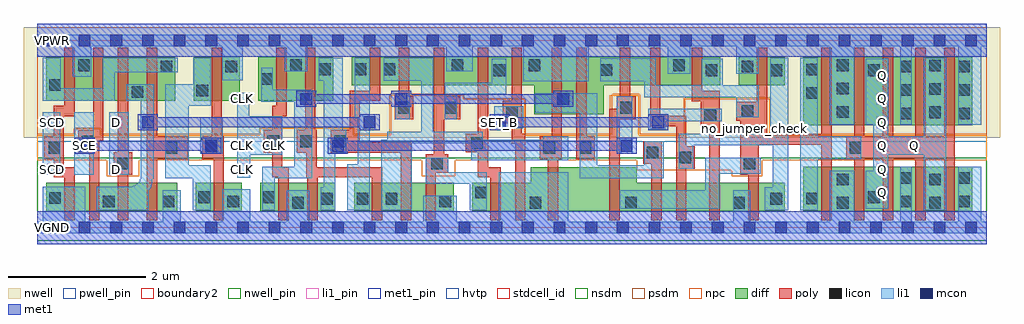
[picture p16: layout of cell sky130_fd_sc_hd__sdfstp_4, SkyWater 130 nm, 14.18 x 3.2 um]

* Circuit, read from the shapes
.subckt sky130_fd_sc_hd__sdfstp_4 CLK D Q SCD SCE SET_B VGND VNB VPB VPWR
XM1 n1 SCD VGND VNB sky130_fd_pr__nfet_01v8 w=0.42 l=0.15
XM2 n2 SCE n1 VNB sky130_fd_pr__nfet_01v8 w=0.42 l=0.15
XM3 n3 D n2 VNB sky130_fd_pr__nfet_01v8 w=0.42 l=0.15
XM4 VGND n4 n3 VNB sky130_fd_pr__nfet_01v8 w=0.42 l=0.15
XM5 VGND SCE n4 VNB sky130_fd_pr__nfet_01v8 w=0.42 l=0.15
XM6 VGND CLK n5 VNB sky130_fd_pr__nfet_01v8 w=0.42 l=0.15
XM7 n6 n5 VGND VNB sky130_fd_pr__nfet_01v8 w=0.42 l=0.15
XM8 n7 n5 n2 VNB sky130_fd_pr__nfet_01v8 w=0.42 l=0.15
XM9 n8 n6 n7 VNB sky130_fd_pr__nfet_01v8 w=0.42 l=0.15
XM10 VGND n9 n8 VNB sky130_fd_pr__nfet_01v8 w=0.42 l=0.15
XM11 n10 n7 n9 VNB sky130_fd_pr__nfet_01v8 w=0.42 l=0.15
XM12 VGND SET_B n10 VNB sky130_fd_pr__nfet_01v8 w=0.42 l=0.15
XM13 n11 n7 VGND VNB sky130_fd_pr__nfet_01v8 w=0.64 l=0.15
XM14 n12 n6 n11 VNB sky130_fd_pr__nfet_01v8 w=0.64 l=0.15
XM15 n13 n5 n12 VNB sky130_fd_pr__nfet_01v8 w=0.42 l=0.15
XM16 n14 n15 n13 VNB sky130_fd_pr__nfet_01v8 w=0.42 l=0.15
XM17 VGND SET_B n14 VNB sky130_fd_pr__nfet_01v8 w=0.42 l=0.15
XM18 n15 n12 VGND VNB sky130_fd_pr__nfet_01v8 w=0.42 l=0.15
XM19 VGND n12 n16 VNB sky130_fd_pr__nfet_01v8 w=0.65 l=0.15
XM20 Q n16 VGND VNB sky130_fd_pr__nfet_01v8 w=0.65 l=0.15 m=4
XM21 VPWR SCD n17 VPB sky130_fd_pr__pfet_01v8_hvt w=0.64 l=0.15
XM22 n18 SCE VPWR VPB sky130_fd_pr__pfet_01v8_hvt w=0.64 l=0.15
XM23 n2 D n18 VPB sky130_fd_pr__pfet_01v8_hvt w=0.64 l=0.15
XM24 n17 n4 n2 VPB sky130_fd_pr__pfet_01v8_hvt w=0.64 l=0.15
XM25 VPWR SCE n4 VPB sky130_fd_pr__pfet_01v8_hvt w=0.64 l=0.15
XM26 VPWR CLK n5 VPB sky130_fd_pr__pfet_01v8_hvt w=0.64 l=0.15
XM27 n6 n5 VPWR VPB sky130_fd_pr__pfet_01v8_hvt w=0.64 l=0.15
XM28 n7 n6 n2 VPB sky130_fd_pr__pfet_01v8_hvt w=0.42 l=0.15
XM29 n19 n5 n7 VPB sky130_fd_pr__pfet_01v8_hvt w=0.42 l=0.15
XM30 VPWR n9 n19 VPB sky130_fd_pr__pfet_01v8_hvt w=0.42 l=0.15
XM31 n9 n7 VPWR VPB sky130_fd_pr__pfet_01v8_hvt w=0.42 l=0.15
XM32 VPWR SET_B n9 VPB sky130_fd_pr__pfet_01v8_hvt w=0.42 l=0.15
XM33 n20 n7 VPWR VPB sky130_fd_pr__pfet_01v8_hvt w=0.84 l=0.15
XM34 n12 n5 n20 VPB sky130_fd_pr__pfet_01v8_hvt w=0.84 l=0.15
XM35 n21 n6 n12 VPB sky130_fd_pr__pfet_01v8_hvt w=0.42 l=0.15
XM36 VPWR n15 n21 VPB sky130_fd_pr__pfet_01v8_hvt w=0.42 l=0.15
XM37 n12 SET_B VPWR VPB sky130_fd_pr__pfet_01v8_hvt w=0.42 l=0.15
XM38 n15 n12 VPWR VPB sky130_fd_pr__pfet_01v8_hvt w=0.42 l=0.15
XM39 VPWR n12 n16 VPB sky130_fd_pr__pfet_01v8_hvt w=1 l=0.15
XM40 Q n16 VPWR VPB sky130_fd_pr__pfet_01v8_hvt w=1 l=0.15 m=4
.ends

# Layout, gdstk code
import gdstk
lib = gdstk.Library(unit=1e-6, precision=1e-09)
def R(c, l, rs):  # rectangles x0, y0, x1, y1
    for r in rs: c.add(gdstk.rectangle(r[:2], r[2:], *l))
def A(c, l, x, y, w, h, nx, ny, dx, dy):  # array of equal rectangles
    R(c, l, [(x+i*dx, y+j*dy, x+i*dx+w, y+j*dy+h) for i in range(nx) for j in range(ny)])
def P(c, l, *ps):  # polygons
    for p in ps: c.add(gdstk.Polygon(p, *l))
nwell_pin = (64, 16)
nwell = (64, 20)
diff = (65, 20)
poly = (66, 20)
licon = (66, 44)
li1_pin = (67, 16)
li1 = (67, 20)
mcon = (67, 44)
met1_pin = (68, 16)
met1 = (68, 20)
hvtp = (78, 44)
stdcell_id = (81, 4)
nsdm = (93, 44)
psdm = (94, 20)
npc = (95, 20)
pwell_pin = (122, 16)
boundary2 = (236, 0)

sky130_fd_sc_hd__sdfstp_ = lib.new_cell('sky130_fd_sc_hd__sdfstp_4')
R(sky130_fd_sc_hd__sdfstp_, nwell_pin, [(0.145,2.635,0.315,2.805)])
R(sky130_fd_sc_hd__sdfstp_, nwell, [(-0.19,1.305,13.99,2.91)])
R(sky130_fd_sc_hd__sdfstp_, diff, [(0.135,0.235,2.035,0.655), (2.305,0.235,2.975,0.655), (3.245,0.235,4.335,0.655), (4.605,0.235,6.055,0.655), (11.135,0.235,13.59,0.885), (11.135,1.485,13.59,2.485), (0.135,1.845,2.005,2.485), (2.275,1.845,2.945,2.485), (3.215,1.845,4.305,2.485), (10.195,2.065,10.865,2.485)])
P(sky130_fd_sc_hd__sdfstp_, diff, [(10.865,0.655),(8.715,0.655),(8.715,0.875),(7.17,0.875),(7.17,0.655),(6.325,0.655),(6.325,0.235),(10.865,0.235)],
  [(9.925,2.485),(4.575,2.485),(4.575,2.065),(7.225,2.065),(7.225,1.645),(8.235,1.645),(8.235,2.065),(9.925,2.065)])
P(sky130_fd_sc_hd__sdfstp_, poly, [(0.545,0.88),(0.39,0.88),(0.39,1.62),(0.545,1.62),(0.545,2.615),(0.395,2.615),(0.395,1.77),(0.24,1.77),(0.24,1.325),(0.105,1.325),(0.105,0.995),(0.24,0.995),(0.24,0.73),(0.395,0.73),(0.395,0.105),(0.545,0.105)],
  [(0.965,2.615),(0.815,2.615),(0.815,1.415),(0.6,1.415),(0.6,1.085),(0.755,1.085),(0.755,0.105),(0.905,0.105),(0.905,1.265),(0.965,1.265)],
  [(1.385,1.095),(1.325,1.095),(1.325,2.615),(1.175,2.615),(1.175,1.095),(1.115,1.095),(1.115,0.765),(1.175,0.765),(1.175,0.105),(1.325,0.105),(1.325,0.765),(1.385,0.765)],
  [(2.19,1.325),(1.745,1.325),(1.745,2.615),(1.595,2.615),(1.595,0.105),(1.745,0.105),(1.745,0.995),(2.19,0.995)],
  [(2.715,1.325),(2.685,1.325),(2.685,2.615),(2.535,2.615),(2.535,1.325),(2.4,1.325),(2.4,0.995),(2.565,0.995),(2.565,0.105),(2.715,0.105)],
  [(3.655,0.88),(3.565,0.88),(3.565,1.62),(3.625,1.62),(3.625,2.615),(3.475,2.615),(3.475,1.77),(3.415,1.77),(3.415,1.42),(3.295,1.42),(3.295,1.09),(3.415,1.09),(3.415,0.73),(3.505,0.73),(3.505,0.105),(3.655,0.105)],
  [(5.015,0.88),(4.06,0.88),(4.06,1.42),(4.045,1.42),(4.045,2.615),(3.895,2.615),(3.895,1.42),(3.775,1.42),(3.775,1.09),(3.91,1.09),(3.91,0.73),(3.925,0.73),(3.925,0.105),(4.075,0.105),(4.075,0.73),(4.865,0.73),(4.865,0.105),(5.015,0.105)],
  [(5.435,1.24),(4.69,1.24),(4.69,1.84),(4.985,1.84),(4.985,2.615),(4.835,2.615),(4.835,1.99),(4.54,1.99),(4.54,1.42),(4.27,1.42),(4.27,1.09),(5.285,1.09),(5.285,0.105),(5.435,0.105)],
  [(13.33,2.615),(13.18,2.615),(13.18,1.325),(12.91,1.325),(12.91,2.615),(12.76,2.615),(12.76,1.325),(12.44,1.325),(12.44,2.615),(12.29,2.615),(12.29,1.325),(12.02,1.325),(12.02,2.615),(11.87,2.615),(11.87,1.325),(11.755,1.325),(11.755,0.995),(11.87,0.995),(11.87,0.105),(12.02,0.105),(12.02,0.995),(12.29,0.995),(12.29,0.105),(12.44,0.105),(12.44,0.995),(12.76,0.995),(12.76,0.105),(12.91,0.105),(12.91,0.995),(13.18,0.995),(13.18,0.105),(13.33,0.105)],
  [(5.465,1.905),(5.405,1.905),(5.405,2.615),(5.255,2.615),(5.255,1.905),(5.195,1.905),(5.195,1.575),(5.465,1.575)],
  [(6.145,1.905),(5.915,1.905),(5.915,2.615),(5.765,2.615),(5.765,1.065),(5.645,1.065),(5.645,0.105),(5.795,0.105),(5.795,0.795),(5.975,0.795),(5.975,1.065),(5.915,1.065),(5.915,1.575),(6.145,1.575)],
  [(6.735,0.88),(6.555,0.88),(6.555,2.615),(6.405,2.615),(6.405,1.365),(6.225,1.365),(6.225,1.095),(6.405,1.095),(6.405,0.73),(6.585,0.73),(6.585,0.105),(6.735,0.105)],
  [(7.095,1.365),(7.045,1.365),(7.045,2.615),(6.895,2.615),(6.895,1.845),(6.765,1.845),(6.765,1.515),(6.895,1.515),(6.895,1.215),(6.945,1.215),(6.945,0.105),(7.095,0.105)],
  [(7.625,2.615),(7.475,2.615),(7.475,1.325),(7.305,1.325),(7.305,0.995),(7.42,0.995),(7.42,0.105),(7.57,0.105),(7.57,0.995),(7.625,0.995)],
  [(8.105,1.325),(7.985,1.325),(7.985,2.615),(7.835,2.615),(7.835,0.995),(8.105,0.995)],
  [(8.695,1.905),(8.615,1.905),(8.615,2.615),(8.465,2.615),(8.465,1.905),(8.425,1.905),(8.425,1.725),(8.315,1.725),(8.315,0.105),(8.465,0.105),(8.465,1.575),(8.695,1.575)],
  [(9.075,1.255),(8.805,1.255),(8.805,0.925),(8.925,0.925),(8.925,0.105),(9.075,0.105)],
  [(9.555,1.185),(9.435,1.185),(9.435,1.625),(9.055,1.625),(9.055,2.615),(8.905,2.615),(8.905,1.475),(9.285,1.475),(9.285,0.105),(9.435,0.105),(9.435,0.855),(9.555,0.855)],
  [(9.915,1.985),(9.665,1.985),(9.665,2.615),(9.515,2.615),(9.515,1.835),(9.645,1.835),(9.645,1.465),(9.765,1.465),(9.765,0.105),(9.915,0.105)],
  [(11.545,2.615),(11.395,2.615),(11.395,1.355),(10.605,1.355),(10.605,2.615),(10.455,2.615),(10.455,1.825),(10.155,1.825),(10.155,1.555),(10.215,1.555),(10.215,0.765),(10.335,0.765),(10.335,0.105),(10.485,0.105),(10.485,1.205),(11.395,1.205),(11.395,0.105),(11.545,0.105)])
A(sky130_fd_sc_hd__sdfstp_, licon, 12.54, 1.575, 0.17, 0.17, 1, 3, 0, 0.34)
A(sky130_fd_sc_hd__sdfstp_, licon, 13.38, 1.575, 0.17, 0.17, 1, 3, 0, 0.34)
A(sky130_fd_sc_hd__sdfstp_, licon, 12.96, 1.59, 0.17, 0.17, 1, 3, 0, 0.34)
A(sky130_fd_sc_hd__sdfstp_, licon, 11.62, 1.595, 0.17, 0.17, 1, 3, 0, 0.34)
R(sky130_fd_sc_hd__sdfstp_, licon, [(3.705,0.275,3.875,0.445), (7.155,0.275,7.325,0.445), (8.545,0.275,8.715,0.445), (10.115,0.275,10.285,0.445), (11.62,0.275,11.79,0.445), (12.96,0.275,13.13,0.445), (0.955,0.295,1.125,0.465), (1.825,0.295,1.995,0.465), (2.765,0.295,2.935,0.465), (5.845,0.295,6.015,0.465), (12.54,0.295,12.71,0.465), (13.38,0.295,13.55,0.465), (4.125,0.335,4.295,0.505), (4.645,0.335,4.815,0.505), (5.065,0.335,5.235,0.505), (10.655,0.335,10.825,0.505), (11.175,0.34,11.345,0.51), (0.175,0.345,0.345,0.515), (2.345,0.355,2.515,0.525), (3.285,0.355,3.455,0.525), (12.07,0.355,12.24,0.525), (6.365,0.425,6.535,0.595), (11.62,0.615,11.79,0.785), (12.96,0.615,13.13,0.785), (12.54,0.635,12.71,0.805), (13.38,0.635,13.55,0.805), (1.165,0.845,1.335,1.015), (5.725,0.845,5.895,1.015), (10.265,0.845,10.435,1.015), (9.335,0.935,9.505,1.105), (8.855,1.005,9.025,1.175), (0.17,1.075,0.34,1.245), (1.865,1.075,2.035,1.245), (2.45,1.075,2.62,1.245), (7.355,1.075,7.525,1.245), (7.885,1.075,8.055,1.245), (11.805,1.075,11.975,1.245), (6.305,1.145,6.475,1.315), (0.65,1.165,0.82,1.335), (3.345,1.17,3.515,1.34), (3.825,1.17,3.995,1.34), (4.32,1.17,4.49,1.34), (9.695,1.545,9.865,1.715), (6.815,1.595,6.985,1.765), (10.235,1.605,10.405,1.775), (5.245,1.655,5.415,1.825), (5.925,1.655,6.095,1.825), (8.475,1.655,8.645,1.825), (11.175,1.87,11.345,2.04), (1.375,1.885,1.545,2.055), (2.315,1.905,2.485,2.075), (0.175,1.985,0.345,2.155), (3.255,2.075,3.425,2.245), (6.63,2.2,6.8,2.37), (9.715,2.2,9.885,2.37), (10.655,2.2,10.825,2.37), (12.07,2.2,12.24,2.37), (8.185,2.205,8.355,2.375), (11.175,2.21,11.345,2.38), (4.095,2.215,4.265,2.385), (4.615,2.215,4.785,2.385), (5.035,2.215,5.205,2.385), (1.795,2.255,1.965,2.425), (2.735,2.255,2.905,2.425), (10.235,2.255,10.405,2.425), (0.595,2.275,0.765,2.445), (3.675,2.275,3.845,2.445), (6.025,2.275,6.195,2.445), (7.14,2.275,7.31,2.445), (9.24,2.275,9.41,2.445)])
A(sky130_fd_sc_hd__sdfstp_, li1_pin, 12.2, 0.425, 0.17, 0.17, 1, 6, 0, 0.34)
R(sky130_fd_sc_hd__sdfstp_, li1_pin, [(0.145,0.765,0.315,0.935), (1.065,0.765,1.235,0.935), (2.905,0.765,3.075,0.935), (0.605,1.105,0.775,1.275), (2.905,1.105,3.075,1.275), (3.365,1.105,3.535,1.275), (12.66,1.105,12.83,1.275), (0.145,1.445,0.315,1.615), (1.065,1.445,1.235,1.615), (6.64,1.445,6.81,1.615), (2.905,1.785,3.075,1.955)])
R(sky130_fd_sc_hd__sdfstp_, li1, [(0.085,0.765,0.34,1.675), (0.54,0.765,0.82,1.675), (1.05,0.765,1.335,1.675), (2.37,1.075,2.7,1.6), (8.425,1.075,8.65,1.905), (6.64,1.445,7.065,1.765), (5.205,1.575,5.415,1.955)])
P(sky130_fd_sc_hd__sdfstp_, li1, [(1.695,2.085),(1.295,2.085),(1.295,1.845),(1.505,1.845),(1.505,0.705),(1.495,0.705),(1.495,0.665),(1.475,0.665),(1.475,0.645),(1.46,0.645),(1.46,0.635),(1.445,0.635),(1.445,0.63),(1.44,0.63),(1.44,0.62),(1.43,0.62),(1.43,0.615),(1.42,0.615),(1.42,0.61),(1.405,0.61),(1.405,0.605),(1.395,0.605),(1.395,0.6),(1.38,0.6),(1.38,0.595),(0.87,0.595),(0.87,0.255),(1.625,0.255),(1.625,0.555),(1.64,0.555),(1.64,0.575),(1.65,0.575),(1.65,0.595),(1.66,0.595),(1.66,0.62),(1.665,0.62),(1.665,0.645),(1.67,0.645),(1.67,0.66),(1.675,0.66),(1.675,0.71),(1.695,0.71)],
  [(2.045,2.465),(0.955,2.465),(0.955,2.025),(0.345,2.025),(0.345,2.465),(0.085,2.465),(0.085,1.845),(1.125,1.845),(1.125,2.255),(2.045,2.255)],
  [(2.52,0.905),(2.2,0.905),(2.2,1.77),(2.52,1.77),(2.52,2.465),(2.27,2.465),(2.27,2.085),(1.865,2.085),(1.865,0.715),(2.26,0.715),(2.26,0.255),(2.52,0.255)],
  [(3.565,1.615),(3.085,1.615),(3.085,1.96),(2.905,1.96),(2.905,0.725),(3.1,0.725),(3.1,1.055),(3.565,1.055)],
  [(3.995,1.99),(3.985,1.99),(3.985,2),(3.425,2),(3.425,2.325),(3.255,2.325),(3.255,1.83),(3.735,1.83),(3.735,0.885),(3.27,0.885),(3.27,0.255),(3.455,0.255),(3.455,0.715),(3.995,0.715)],
  [(4.49,1.42),(4.44,1.42),(4.44,2.465),(4.095,2.465),(4.095,2.135),(4.165,2.135),(4.165,0.585),(4.125,0.585),(4.125,0.255),(4.335,0.255),(4.335,1.09),(4.49,1.09)],
  [(4.915,1.615),(4.83,1.615),(4.83,2.465),(4.615,2.465),(4.615,1.59),(4.66,1.59),(4.66,0.92),(4.505,0.92),(4.505,0.255),(4.83,0.255),(4.83,1.445),(4.915,1.445)],
  [(6.535,0.805),(5.975,0.805),(5.975,1.015),(5.645,1.015),(5.645,0.635),(6.285,0.635),(6.285,0.255),(6.535,0.255)],
  [(6.82,2.45),(6.605,2.45),(6.605,2.105),(5.925,2.105),(5.925,1.575),(6.095,1.575),(6.095,1.935),(6.82,1.935)],
  [(13.8,2.805),(0,2.805),(0,2.635),(0.515,2.635),(0.515,2.195),(0.785,2.195),(0.785,2.635),(2.69,2.635),(2.69,2.14),(2.985,2.14),(2.985,2.635),(3.595,2.635),(3.595,2.275),(3.925,2.275),(3.925,2.635),(5.945,2.635),(5.945,2.275),(6.33,2.275),(6.33,2.635),(7.06,2.635),(7.06,2.125),(8.015,2.125),(8.015,2.635),(9.16,2.635),(9.16,2.235),(9.49,2.235),(9.49,2.635),(10.155,2.635),(10.155,2.235),(10.485,2.235),(10.485,2.635),(11.515,2.635),(11.515,1.495),(11.87,1.495),(11.87,2.635),(12.54,2.635),(12.54,1.495),(12.71,1.495),(12.71,2.635),(13.38,2.635),(13.38,1.495),(13.715,1.495),(13.715,2.635),(13.8,2.635)],
  [(13.8,0.085),(13.715,0.085),(13.715,0.885),(13.38,0.885),(13.38,0.085),(12.71,0.085),(12.71,0.885),(12.54,0.885),(12.54,0.085),(11.87,0.085),(11.87,0.825),(11.515,0.825),(11.515,0.085),(10.365,0.085),(10.365,0.545),(10.115,0.545),(10.115,0.085),(7.715,0.085),(7.715,0.805),(6.705,0.805),(6.705,0.085),(6.095,0.085),(6.095,0.465),(5.61,0.465),(5.61,0.085),(3.955,0.085),(3.955,0.545),(3.625,0.545),(3.625,0.085),(3.1,0.085),(3.1,0.555),(2.69,0.555),(2.69,0.085),(2.09,0.085),(2.09,0.545),(1.825,0.545),(1.825,0.085),(0.7,0.085),(0.7,0.595),(0.085,0.595),(0.085,0.085),(0,0.085),(0,-0.085),(13.8,-0.085)],
  [(7.715,1.325),(7.355,1.325),(7.355,1.275),(6.475,1.275),(6.475,1.395),(5.755,1.395),(5.755,2.465),(5.035,2.465),(5.035,2.135),(5.585,2.135),(5.585,1.395),(5.085,1.395),(5.085,1.275),(5,1.275),(5,0.255),(5.44,0.255),(5.44,1.225),(6.305,1.225),(6.305,0.975),(7.715,0.975)],
  [(9.105,1.255),(8.82,1.255),(8.82,0.905),(8.135,0.905),(8.135,1.955),(7.235,1.955),(7.235,1.67),(7.885,1.67),(7.885,0.72),(9.105,0.72)],
  [(9.945,1.725),(8.88,1.725),(8.88,1.425),(9.135,1.425),(9.135,1.545),(9.945,1.545)],
  [(10.485,2.065),(9.965,2.065),(9.965,2.45),(9.66,2.45),(9.66,2.065),(8.99,2.065),(8.99,2.46),(8.185,2.46),(8.185,2.125),(8.82,2.125),(8.82,1.895),(10.155,1.895),(10.155,1.605),(10.485,1.605)],
  [(10.515,1.015),(9.71,1.015),(9.71,0.545),(8.465,0.545),(8.465,0.275),(9.91,0.275),(9.91,0.785),(10.515,0.785)],
  [(10.915,2.465),(10.655,2.465),(10.655,1.365),(9.32,1.365),(9.32,0.855),(9.53,0.855),(9.53,1.195),(10.685,1.195),(10.685,0.585),(10.575,0.585),(10.575,0.255),(10.915,0.255)],
  [(13.21,2.465),(12.88,2.465),(12.88,1.325),(12.37,1.325),(12.37,2.45),(12.04,2.45),(12.04,1.495),(12.145,1.495),(12.145,0.825),(12.04,0.825),(12.04,0.275),(12.37,0.275),(12.37,1.055),(12.88,1.055),(12.88,0.255),(13.21,0.255)],
  [(11.975,1.325),(11.345,1.325),(11.345,2.465),(11.085,2.465),(11.085,0.255),(11.345,0.255),(11.345,0.995),(11.975,0.995)])
A(sky130_fd_sc_hd__sdfstp_, mcon, 0.145, -0.085, 0.17, 0.17, 30, 2, 0.46, 2.72)
A(sky130_fd_sc_hd__sdfstp_, mcon, 0.605, 1.105, 0.17, 0.17, 3, 1, 1.84, 0)
R(sky130_fd_sc_hd__sdfstp_, mcon, [(8.48,1.105,8.65,1.275), (1.525,1.445,1.695,1.615), (4.745,1.445,4.915,1.615), (6.64,1.445,6.81,1.615), (8.94,1.445,9.11,1.615), (3.825,1.785,3.995,1.955), (5.205,1.785,5.375,1.955), (7.56,1.785,7.73,1.955)])
R(sky130_fd_sc_hd__sdfstp_, met1_pin, [(0.145,-0.085,0.315,0.085), (0.145,2.635,0.315,2.805)])
P(sky130_fd_sc_hd__sdfstp_, met1, [(2.675,1.305),(2.385,1.305),(2.385,1.26),(0.835,1.26),(0.835,1.305),(0.545,1.305),(0.545,1.075),(0.835,1.075),(0.835,1.12),(2.385,1.12),(2.385,1.075),(2.675,1.075)],
  [(4.975,1.645),(4.685,1.645),(4.685,1.6),(1.755,1.6),(1.755,1.645),(1.465,1.645),(1.465,1.415),(1.755,1.415),(1.755,1.46),(4.685,1.46),(4.685,1.415),(4.975,1.415)],
  [(7.79,1.985),(7.5,1.985),(7.5,1.94),(5.435,1.94),(5.435,1.985),(5.145,1.985),(5.145,1.94),(4.055,1.94),(4.055,1.985),(3.765,1.985),(3.765,1.755),(4.055,1.755),(4.055,1.8),(5.145,1.8),(5.145,1.755),(5.435,1.755),(5.435,1.8),(7.5,1.8),(7.5,1.755),(7.79,1.755)],
  [(8.71,1.305),(8.42,1.305),(8.42,1.26),(4.515,1.26),(4.515,1.305),(4.225,1.305),(4.225,1.075),(4.515,1.075),(4.515,1.12),(8.42,1.12),(8.42,1.075),(8.71,1.075)],
  [(9.17,1.645),(8.88,1.645),(8.88,1.6),(6.87,1.6),(6.87,1.645),(6.58,1.645),(6.58,1.415),(6.87,1.415),(6.87,1.46),(8.88,1.46),(8.88,1.415),(9.17,1.415)])
R(sky130_fd_sc_hd__sdfstp_, hvtp, [(0,1.25,13.8,2.72)])
R(sky130_fd_sc_hd__sdfstp_, stdcell_id, [(0,0,13.8,2.72)])
R(sky130_fd_sc_hd__sdfstp_, nsdm, [(0,-0.19,13.8,1.015)])
P(sky130_fd_sc_hd__sdfstp_, psdm, [(13.8,2.91),(0,2.91),(0,1.355),(0.54,1.355),(0.54,1.445),(0.93,1.445),(0.93,1.355),(3.235,1.355),(3.235,1.45),(4.6,1.45),(4.6,1.355),(5.125,1.355),(5.125,1.935),(6.2,1.935),(6.2,1.875),(7.095,1.875),(7.095,1.355),(8.36,1.355),(8.36,1.935),(8.755,1.935),(8.755,1.355),(9.4,1.355),(9.4,1.885),(10.655,1.885),(10.655,1.355),(13.8,1.355)])
P(sky130_fd_sc_hd__sdfstp_, npc, [(13.8,1.345),(10.645,1.345),(10.645,1.875),(9.41,1.875),(9.41,1.345),(8.745,1.345),(8.745,1.925),(8.32,1.925),(8.32,1.345),(7.085,1.345),(7.085,1.865),(6.19,1.865),(6.19,1.925),(5.135,1.925),(5.135,1.345),(4.59,1.345),(4.59,1.44),(3.245,1.44),(3.245,1.345),(0.92,1.345),(0.92,1.435),(0.55,1.435),(0.55,1.345),(0,1.345),(0,0.975),(1.015,0.975),(1.015,0.745),(1.485,0.745),(1.485,0.975),(5.59,0.975),(5.59,0.745),(6.075,0.745),(6.075,0.975),(8.71,0.975),(8.71,0.835),(10.09,0.835),(10.09,0.745),(10.535,0.745),(10.535,0.975),(13.8,0.975)])
R(sky130_fd_sc_hd__sdfstp_, pwell_pin, [(0.145,-0.085,0.315,0.085)])
R(sky130_fd_sc_hd__sdfstp_, boundary2, [(0,0,13.8,2.72)])
sky130_fd_sc_hd__sdfstp_.add(gdstk.FlexPath([(0,0),(13.8,0)], 0.48, ends="flush", simple_path=True, layer=68, datatype=20))  # met1
sky130_fd_sc_hd__sdfstp_.add(gdstk.FlexPath([(0,2.72),(13.8,2.72)], 0.48, ends="flush", simple_path=True, layer=68, datatype=20))  # met1
sky130_fd_sc_hd__sdfstp_.add(gdstk.Label('CLK', (3.45,1.19), layer=67, texttype=5))
sky130_fd_sc_hd__sdfstp_.add(gdstk.Label('CLK', (2.99,0.85), layer=67, texttype=5))
sky130_fd_sc_hd__sdfstp_.add(gdstk.Label('CLK', (2.99,1.19), layer=67, texttype=5))
sky130_fd_sc_hd__sdfstp_.add(gdstk.Label('D', (1.15,0.85), layer=67, texttype=5))
sky130_fd_sc_hd__sdfstp_.add(gdstk.Label('SCE', (0.69,1.19), layer=67, texttype=5))
sky130_fd_sc_hd__sdfstp_.add(gdstk.Label('SET_B', (6.725,1.53), layer=67, texttype=5))
sky130_fd_sc_hd__sdfstp_.add(gdstk.Label('SCD', (0.23,1.53), layer=67, texttype=5))
sky130_fd_sc_hd__sdfstp_.add(gdstk.Label('D', (1.15,1.53), layer=67, texttype=5))
sky130_fd_sc_hd__sdfstp_.add(gdstk.Label('CLK', (2.99,1.87), layer=67, texttype=5))
sky130_fd_sc_hd__sdfstp_.add(gdstk.Label('SCD', (0.23,0.85), layer=67, texttype=5))
sky130_fd_sc_hd__sdfstp_.add(gdstk.Label('Q', (12.745,1.19), layer=67, texttype=5))
sky130_fd_sc_hd__sdfstp_.add(gdstk.Label('Q', (12.285,1.87), layer=67, texttype=5))
sky130_fd_sc_hd__sdfstp_.add(gdstk.Label('Q', (12.285,2.21), layer=67, texttype=5))
sky130_fd_sc_hd__sdfstp_.add(gdstk.Label('Q', (12.285,1.19), layer=67, texttype=5))
sky130_fd_sc_hd__sdfstp_.add(gdstk.Label('Q', (12.285,0.85), layer=67, texttype=5))
sky130_fd_sc_hd__sdfstp_.add(gdstk.Label('Q', (12.285,0.51), layer=67, texttype=5))
sky130_fd_sc_hd__sdfstp_.add(gdstk.Label('Q', (12.285,1.53), layer=67, texttype=5))
sky130_fd_sc_hd__sdfstp_.add(gdstk.Label('VPWR', (0.23,2.72), layer=68, texttype=5))
sky130_fd_sc_hd__sdfstp_.add(gdstk.Label('VGND', (0.23,0), layer=68, texttype=5))
sky130_fd_sc_hd__sdfstp_.add(gdstk.Label('VPB', (0.23,2.72), layer=64, texttype=5))
sky130_fd_sc_hd__sdfstp_.add(gdstk.Label('VNB', (0.23,0), layer=64, texttype=59))
sky130_fd_sc_hd__sdfstp_.add(gdstk.Label('no_jumper_check', (5.835,1.43), layer=83, texttype=44))
sky130_fd_sc_hd__sdfstp_.add(gdstk.Label('sdfstp_4', (0,0), layer=83, texttype=44))
sky130_fd_sc_hd__sdfstp_.add(gdstk.Label('no_jumper_check', (10.42,1.435), layer=83, texttype=44))

lib.write_gds('sky130_fd_sc_hd__sdfstp_4.gds')
